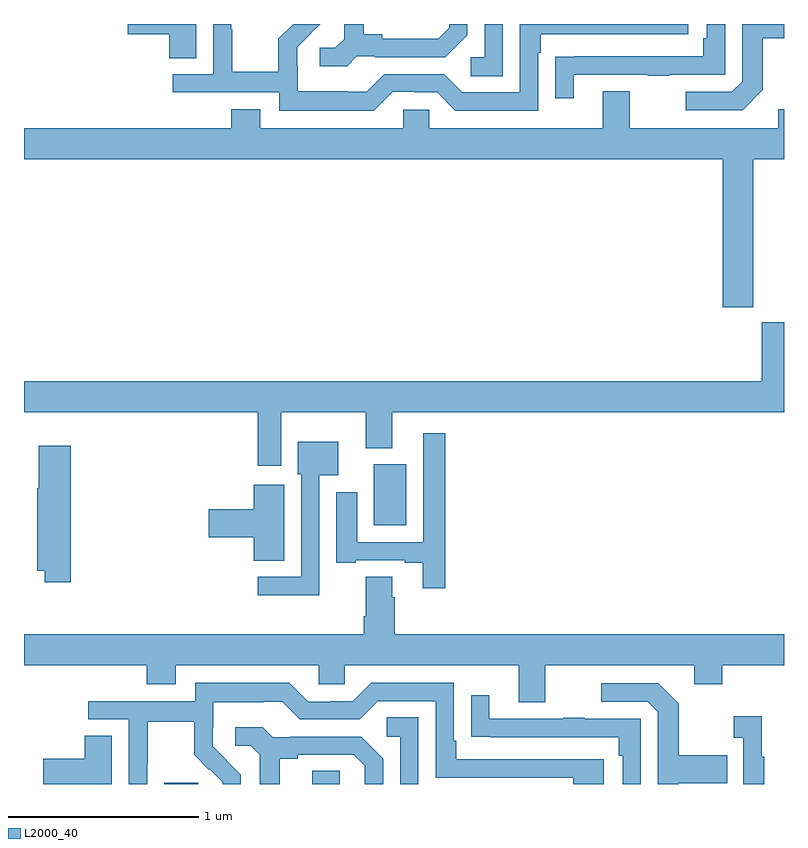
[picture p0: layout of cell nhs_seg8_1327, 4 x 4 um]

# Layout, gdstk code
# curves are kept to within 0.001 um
import gdstk
lib = gdstk.Library(unit=1e-6, precision=1e-09)
def R(c, l, rs):  # rectangles x0, y0, x1, y1
    for r in rs: c.add(gdstk.rectangle(r[:2], r[2:], *l))
def P(c, l, *ps):  # polygons
    for p in ps: c.add(gdstk.Polygon(p, *l))
L2000_40 = (2000, 40)

nhs_seg8_1327 = lib.new_cell('nhs_seg8_1327')
R(nhs_seg8_1327, L2000_40, [(195.737,1091.9,195.916,1091.907), (196.517,1091.9,196.662,1091.969), (196.841,1093.262,197.011,1093.582)])
P(nhs_seg8_1327, L2000_40, [(197.52,1095.9),(197.424,1095.9),(197.424,1095.726),(197.352,1095.726),(197.352,1095.625),(197.52,1095.625)],
  [(197.893,1095.633),(198.283,1095.633),(198.283,1095.628),(198.395,1095.628),(198.395,1095.633),(198.69,1095.633),(198.69,1095.9),(198.594,1095.9),(198.594,1095.826),(198.574,1095.826),(198.574,1095.729),(197.899,1095.729),(197.899,1095.728),(197.797,1095.728),(197.797,1095.51),(197.893,1095.51)],
  [(196.941,1095.543),(197.057,1095.543),(197.057,1095.54),(197.175,1095.54),(197.271,1095.444),(197.706,1095.444),(197.706,1095.749),(197.719,1095.749),(197.719,1095.846),(198.496,1095.846),(198.496,1095.9),(197.61,1095.9),(197.61,1095.54),(197.307,1095.54),(197.211,1095.636),(196.896,1095.636),(196.803,1095.543),(196.703,1095.543),(196.703,1095.547),(196.44,1095.547),(196.44,1095.681),(196.438,1095.681),(196.438,1095.778),(196.558,1095.9),(196.422,1095.9),(196.419,1095.897),(196.416,1095.9),(196.339,1095.823),(196.339,1095.649),(196.095,1095.649),(196.095,1095.872),(196.092,1095.872),(196.092,1095.9),(195.996,1095.9),(195.996,1095.636),(195.783,1095.636),(195.783,1095.54),(196.344,1095.54),(196.344,1095.443),(196.841,1095.443)],
  [(198.889,1095.553),(198.889,1095.826),(199,1095.826),(199,1095.9),(198.78,1095.9),(198.78,1095.597),(198.726,1095.543),(198.483,1095.543),(198.483,1095.447),(198.783,1095.447)],
  [(195.907,1095.9),(195.546,1095.9),(195.546,1095.845),(195.764,1095.845),(195.764,1095.721),(195.907,1095.721)],
  [(196.752,1095.729),(196.846,1095.729),(196.846,1095.726),(197.218,1095.726),(197.334,1095.842),(197.334,1095.9),(197.237,1095.9),(197.237,1095.879),(197.18,1095.822),(196.885,1095.822),(196.885,1095.845),(196.789,1095.845),(196.789,1095.9),(196.685,1095.9),(196.685,1095.821),(196.638,1095.774),(196.557,1095.774),(196.557,1095.677),(196.7,1095.677)],
  [(198.837,1095.188),(199,1095.188),(199,1095.451),(198.971,1095.451),(198.971,1095.352),(198.187,1095.352),(198.187,1095.547),(198.047,1095.547),(198.047,1095.352),(197.133,1095.352),(197.133,1095.45),(196.995,1095.45),(196.995,1095.352),(196.243,1095.352),(196.243,1095.451),(196.091,1095.451),(196.091,1095.352),(195,1095.352),(195,1095.188),(198.677,1095.188),(198.677,1094.409),(198.837,1094.409)],
  [(196.354,1093.856),(196.799,1093.856),(196.799,1093.667),(196.939,1093.667),(196.939,1093.856),(199,1093.856),(199,1094.329),(198.884,1094.329),(198.884,1094.02),(195,1094.02),(195,1093.856),(196.229,1093.856),(196.229,1093.575),(196.354,1093.575)],
  [(197.216,1093.747),(197.1,1093.747),(197.1,1093.173),(196.753,1093.173),(196.753,1093.435),(196.643,1093.435),(196.643,1093.065),(196.747,1093.065),(196.747,1093.077),(197.003,1093.077),(197.003,1093.065),(197.099,1093.065),(197.099,1092.93),(197.216,1092.93)],
  [(196.554,1093.526),(196.654,1093.526),(196.654,1093.702),(196.442,1093.702),(196.442,1093.53),(196.458,1093.53),(196.458,1092.99),(196.23,1092.99),(196.23,1092.893),(196.554,1092.893)],
  [(195.245,1093.681),(195.077,1093.681),(195.077,1093.457),(195.07,1093.457),(195.07,1093.022),(195.11,1093.022),(195.11,1092.963),(195.245,1092.963)],
  [(196.369,1093.474),(196.208,1093.474),(196.208,1093.346),(195.972,1093.346),(195.972,1093.199),(196.208,1093.199),(196.208,1093.075),(196.369,1093.075)],
  [(197.743,1092.524),(198.527,1092.524),(198.527,1092.425),(198.675,1092.425),(198.675,1092.524),(199,1092.524),(199,1092.688),(196.952,1092.688),(196.952,1092.884),(196.939,1092.884),(196.939,1092.992),(196.799,1092.992),(196.799,1092.784),(196.787,1092.784),(196.787,1092.688),(195,1092.688),(195,1092.524),(195.647,1092.524),(195.647,1092.425),(195.799,1092.425),(195.799,1092.524),(196.551,1092.524),(196.551,1092.426),(196.689,1092.426),(196.689,1092.524),(197.603,1092.524),(197.603,1092.33),(197.743,1092.33)],
  [(195.648,1092.004),(195.651,1092.004),(195.651,1092.228),(195.895,1092.228),(195.895,1092.053),(195.972,1091.976),(195.975,1091.979),(196.046,1091.909),(196.046,1091.9),(196.14,1091.9),(196.14,1091.95),(195.994,1092.098),(195.994,1092.195),(195.996,1092.195),(195.996,1092.329),(196.259,1092.329),(196.259,1092.333),(196.359,1092.333),(196.452,1092.24),(196.767,1092.24),(196.863,1092.336),(197.166,1092.336),(197.166,1091.934),(197.891,1091.934),(197.891,1091.9),(198.052,1091.9),(198.052,1092.03),(197.275,1092.03),(197.275,1092.127),(197.262,1092.127),(197.262,1092.432),(196.827,1092.432),(196.731,1092.336),(196.613,1092.336),(196.613,1092.333),(196.497,1092.333),(196.397,1092.433),(195.9,1092.433),(195.9,1092.336),(195.339,1092.336),(195.339,1092.24),(195.552,1092.24),(195.552,1091.9),(195.648,1091.9)],
  [(198.445,1091.903),(198.701,1091.903),(198.701,1092.051),(198.445,1092.051),(198.445,1092.323),(198.339,1092.429),(198.039,1092.429),(198.039,1092.333),(198.282,1092.333),(198.336,1092.279),(198.336,1091.9),(198.445,1091.9)],
  [(198.246,1092.243),(197.951,1092.243),(197.951,1092.248),(197.839,1092.248),(197.839,1092.243),(197.449,1092.243),(197.449,1092.367),(197.353,1092.367),(197.353,1092.148),(197.455,1092.148),(197.455,1092.147),(198.13,1092.147),(198.13,1092.05),(198.15,1092.05),(198.15,1091.9),(198.246,1091.9)],
  [(198.895,1092.043),(198.883,1092.043),(198.883,1092.256),(198.735,1092.256),(198.735,1092.143),(198.786,1092.143),(198.786,1091.9),(198.895,1091.9)],
  [(197.076,1092.251),(196.908,1092.251),(196.908,1092.15),(196.98,1092.15),(196.98,1091.9),(197.076,1091.9)],
  [(196.345,1092.032),(196.441,1092.032),(196.441,1092.054),(196.736,1092.054),(196.793,1091.997),(196.793,1091.9),(196.89,1091.9),(196.89,1092.034),(196.774,1092.15),(196.402,1092.15),(196.402,1092.147),(196.308,1092.147),(196.256,1092.199),(196.113,1092.199),(196.113,1092.102),(196.194,1092.102),(196.241,1092.055),(196.241,1091.9),(196.345,1091.9)],
  [(195.463,1092.155),(195.32,1092.155),(195.32,1092.032),(195.102,1092.032),(195.102,1091.9),(195.463,1091.9)])

lib.write_gds('nhs_seg8_1327.gds')
